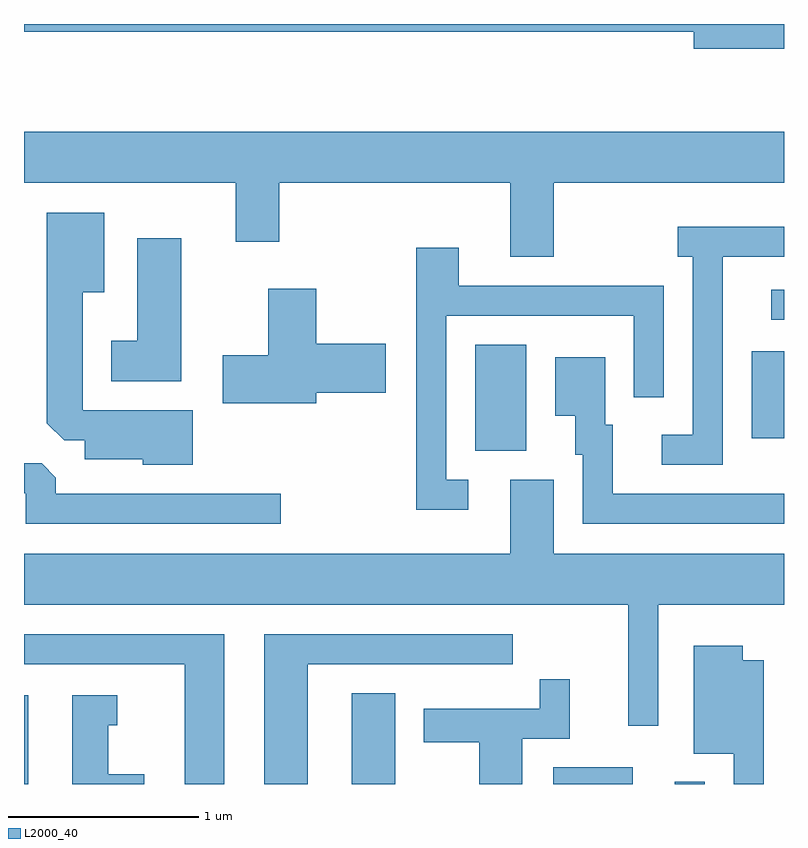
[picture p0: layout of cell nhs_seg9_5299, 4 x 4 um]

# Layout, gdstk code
import gdstk
lib = gdstk.Library(unit=1e-6, precision=1e-09)
def R(c, l, rs):  # rectangles x0, y0, x1, y1
    for r in rs: c.add(gdstk.rectangle(r[:2], r[2:], *l))
def P(c, l, *ps):  # polygons
    for p in ps: c.add(gdstk.Polygon(p, *l))
L2000_40 = (2000, 40)

nhs_seg9_5299 = lib.new_cell('nhs_seg9_5299')
R(nhs_seg9_5299, L2000_40, [(341.611,1986.432,341.634,1986.899), (343.336,1986.432,343.564,1986.909), (344.396,1986.432,344.814,1986.519), (345.036,1986.432,345.194,1986.443), (343.986,1988.186,344.254,1988.744), (345.441,1988.251,345.611,1988.709), (345.543,1988.876,345.611,1989.034)])
P(nhs_seg9_5299, L2000_40, [(345.611,1990.432),(341.611,1990.432),(341.611,1990.391),(345.136,1990.391),(345.136,1990.301),(345.611,1990.301)],
  [(344.399,1989.596),(345.611,1989.596),(345.611,1989.864),(341.611,1989.864),(341.611,1989.596),(342.726,1989.596),(342.726,1989.286),(342.954,1989.286),(342.954,1989.596),(344.171,1989.596),(344.171,1989.206),(344.399,1989.206)],
  [(342.499,1988.399),(341.919,1988.399),(341.919,1989.021),(342.034,1989.021),(342.034,1989.439),(341.731,1989.439),(341.731,1988.332),(341.822,1988.241),(341.931,1988.241),(341.931,1988.141),(342.236,1988.141),(342.236,1988.111),(342.499,1988.111)],
  [(345.289,1989.206),(345.611,1989.206),(345.611,1989.364),(345.053,1989.364),(345.053,1989.206),(345.131,1989.206),(345.131,1988.269),(344.968,1988.269),(344.968,1988.111),(345.289,1988.111)],
  [(342.439,1989.304),(342.206,1989.304),(342.206,1988.764),(342.071,1988.764),(342.071,1988.551),(342.439,1988.551)],
  [(343.948,1988.034),(343.834,1988.034),(343.834,1988.896),(344.821,1988.896),(344.821,1988.468),(344.979,1988.468),(344.979,1989.054),(343.899,1989.054),(343.899,1989.254),(343.676,1989.254),(343.676,1987.876),(343.948,1987.876)],
  [(343.149,1988.491),(343.514,1988.491),(343.514,1988.749),(343.149,1988.749),(343.149,1989.039),(342.896,1989.039),(342.896,1988.689),(342.656,1988.689),(342.656,1988.436),(343.149,1988.436)],
  [(345.611,1987.959),(344.709,1987.959),(344.709,1988.324),(344.669,1988.324),(344.669,1988.679),(344.406,1988.679),(344.406,1988.371),(344.511,1988.371),(344.511,1988.166),(344.551,1988.166),(344.551,1987.801),(345.611,1987.801)],
  [(342.963,1987.959),(341.779,1987.959),(341.779,1988.044),(341.704,1988.119),(341.611,1988.119),(341.611,1987.961),(341.621,1987.961),(341.621,1987.801),(342.963,1987.801)],
  [(344.949,1987.376),(345.611,1987.376),(345.611,1987.644),(344.399,1987.644),(344.399,1988.034),(344.171,1988.034),(344.171,1987.644),(341.611,1987.644),(341.611,1987.376),(344.791,1987.376),(344.791,1986.738),(344.949,1986.738)],
  [(343.104,1987.061),(344.183,1987.061),(344.183,1987.219),(342.876,1987.219),(342.876,1986.432),(343.104,1986.432)],
  [(342.664,1987.219),(341.611,1987.219),(341.611,1987.061),(342.456,1987.061),(342.456,1986.432),(342.664,1986.432)],
  [(345.504,1987.084),(345.394,1987.084),(345.394,1987.159),(345.136,1987.159),(345.136,1986.591),(345.346,1986.591),(345.346,1986.432),(345.504,1986.432)],
  [(344.234,1986.671),(344.484,1986.671),(344.484,1986.983),(344.326,1986.983),(344.326,1986.829),(343.716,1986.829),(343.716,1986.651),(344.006,1986.651),(344.006,1986.432),(344.234,1986.432)],
  [(342.244,1986.484),(342.054,1986.484),(342.054,1986.741),(342.103,1986.741),(342.103,1986.899),(341.866,1986.899),(341.866,1986.432),(342.244,1986.432)])

lib.write_gds('nhs_seg9_5299.gds')
